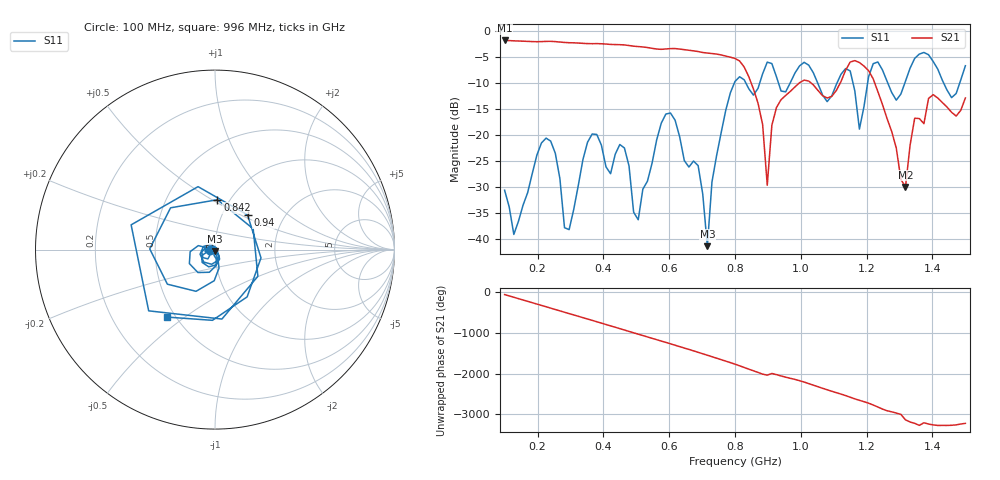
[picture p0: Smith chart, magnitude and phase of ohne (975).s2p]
! NanoVNA-App
! Date: 2025-09-25 14:28:23
! Start: 100MHz Stop: 1,5GHz Points: 101
! S-Parameter data: F S11 S21 S12 S22
# Hz S RI R 50
!  Frequency  S11_Real  S11_Imag  S21_Real  S21_Imag  S12_Real  S12_Imag  S22_Real  S22_Imag
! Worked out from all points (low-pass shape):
!   101 points, 100 MHz to 1.5 GHz, reference 50 ohm
!   highest |S21| = -1.79 dB at 100 MHz (marker M1); lowest = -30.0 dB at 1.318 GHz (marker M2)
!   |S21| within 3 dB of the highest: start of sweep to 771.3 MHz
!   lowest |S11| = -41.4 dB at 716 MHz (marker M3), VSWR 1.02, Z = 49.8 - j0.822 ohm
!   |S11| at or under -10 dB: start of sweep to 798 MHz; 833 MHz to 875 MHz (42.01 MHz wide, 4.92 % of centre); 1.051 GHz to 1.11 GHz (58.55 MHz wide, 5.42 % of centre) (the widest 3 of 7)
!   S12 and S22 are empty: the file has one direction only
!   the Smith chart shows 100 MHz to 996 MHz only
!   S11 on the Smith chart (normalised r, x): 100 MHz: 0.94, -0.01; 842 MHz: 0.88, +0.53; 940 MHz: 1.31, +0.55; 996 MHz: 0.45, -0.43
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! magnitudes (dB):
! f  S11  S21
! 100 MHz  -30.6  -1.8
! 128 MHz  -39.1  -1.9
! 226 MHz  -20.6  -2.0
! 296 MHz  -38.2  -2.2
! 338 MHz  -24.7  -2.3
! 464 MHz  -22.5  -2.7
! 506 MHz  -36.3  -3.0
! 576 MHz  -17.7  -3.5
! 688 MHz  -25.9  -3.9
! 716 MHz  -41.4  -4.2
! 800 MHz  -9.7  -5.3
! 842 MHz  -11.1  -8.8
! 898 MHz  -6.0  -29.7
! 940 MHz  -11.5  -13.2
! 996 MHz  -6.7  -9.9
! 1.038 GHz  -8.0  -10.3
! 1.178 GHz  -18.9  -6.0
! 1.22 GHz  -6.3  -9.2
! 1.276 GHz  -11.8  -19.3
! 1.318 GHz  -9.6  -30.0
! 1.346 GHz  -5.2  -16.8
! 1.5 GHz  -6.7  -12.9
